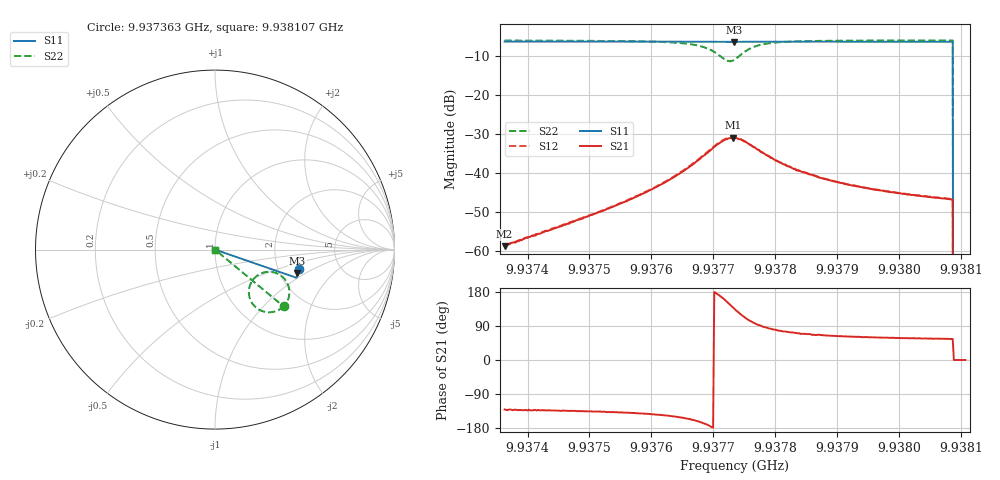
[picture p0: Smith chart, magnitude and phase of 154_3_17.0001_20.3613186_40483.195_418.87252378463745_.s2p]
#  HZ  S  RI  R  50.00
! Rohde & Schwarz Vector Network Analyzer
! Rohde-Schwarz,ZNB20-2Port,1311601062101988,3.16
! Created: UTC 3/20/2024, 10:58:59 PM
! freq[Hz]  re:S11  im:S11  re:S21  im:S21  re:S12  im:S12  re:S22  im:S22
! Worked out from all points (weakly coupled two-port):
!   401 points, 9.937363 GHz to 9.938107 GHz, reference 50 ohm
!   highest |S21| = -30.91 dB at 9.9377313 GHz (marker M1); lowest = -58.7 dB at 9.937363 GHz (marker M2)
!   lowest |S11| = -6.4 dB at 9.9377331 GHz (marker M3), VSWR 2.83, Z = 124 - j42.9 ohm
!   |S11| at or under -10 dB: 9.9380866 GHz to end of sweep
!   |S22| runs from - to -6.0 dB; largest |S21 - S12| = 0.0015
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9.93736301e9  0.4704 -0.1106  -0.000758 -0.000884  -0.000795 -0.00089  0.3845 -0.3152
9.93748762e9  0.4676 -0.119  -0.00185 -0.00184  -0.00191 -0.00185  0.3688 -0.3278
9.93755644e9  0.4661 -0.1237  -0.00322 -0.00281  -0.00332 -0.00278  0.3535 -0.337
9.93761224e9  0.4646 -0.1275  -0.00567 -0.00401  -0.00581 -0.00402  0.3297 -0.3459
9.93764944e9  0.4634 -0.1301  -0.00916 -0.00486  -0.00944 -0.00477  0.2982 -0.3497
9.93768663e9  0.4616 -0.1326  -0.0168 -0.00339  -0.0173 -0.00303  0.2359 -0.3288
9.93771267e9  0.4598 -0.1332  -0.0243 0.00577  -0.0247 0.00665  0.1886 -0.2429
9.93772383e9  0.4595 -0.1331  -0.0242 0.0136  -0.0242 0.0146  0.2027 -0.1819
9.93773127e9  0.4595 -0.1329  -0.0217 0.0184  -0.0212 0.0196  0.2323 -0.1472
9.93773313e9  0.4594 -0.1329  -0.0207 0.0195  -0.0201 0.0208  0.2416 -0.1409
9.93773499e9  0.4597 -0.133  -0.0195 0.0205  -0.019 0.0213  0.2516 -0.1354
9.93774429e9  0.4601 -0.1331  -0.0137 0.0234  -0.0128 0.0239  0.3024 -0.124
9.93775731e9  0.4606 -0.1337  -0.00628 0.0228  -0.00544 0.0231  0.3592 -0.1397
9.93777591e9  0.4611 -0.1354  -0.000396 0.0189  0.000328 0.0191  0.3991 -0.18
9.93780567e9  0.4608 -0.1378  0.00307 0.0137  0.00323 0.0136  0.4141 -0.228
9.93783171e9  0.4603 -0.1398  0.00353 0.0107  0.00387 0.0107  0.4134 -0.2532
9.93785961e9  0.4597 -0.1419  0.00389 0.00871  0.00381 0.00865  0.4098 -0.2706
9.9379154e9  0.4584 -0.1457  0.00335 0.00635  0.00351 0.00637  0.4018 -0.2907
9.93798422e9  0.4567 -0.1504  0.003 0.00489  0.00315 0.00489  0.3934 -0.305
9.9380828e9  0.4539 -0.1568  0.0026 0.00384  0.00274 0.00382  0.3842 -0.3177
9.9380921e9  0 0  0 0  0 0  0 0
9.93810698e9  0 0  0 0  0 0  0 0
